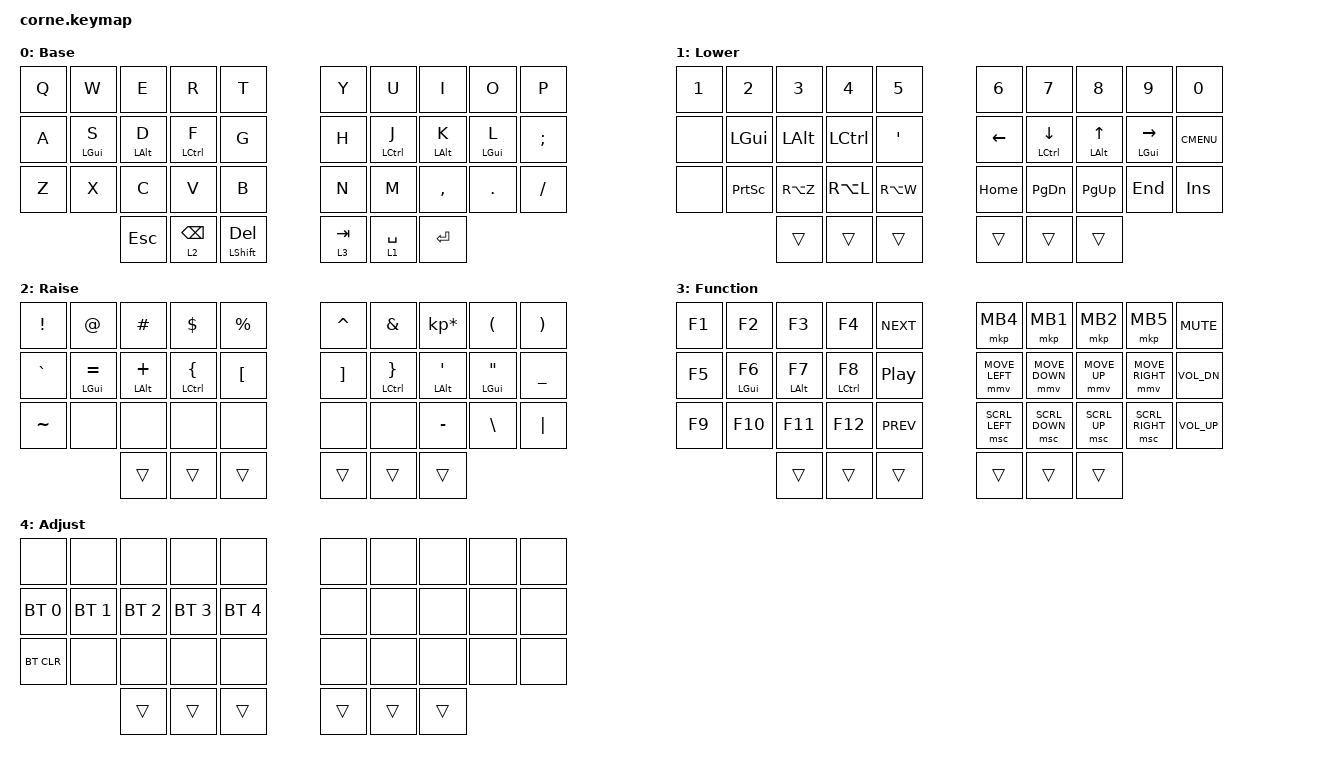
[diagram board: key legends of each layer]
/*
 * Copyright (c) 2020 The ZMK Contributors
 *
 * SPDX-License-Identifier: MIT
 */

#include <behaviors.dtsi>
#include <dt-bindings/zmk/keys.h>
#include <dt-bindings/zmk/bt.h>

#define ZMK_POINTING_DEFAULT_MOVE_VAL 1500  // default: 600
#define ZMK_POINTING_DEFAULT_SCRL_VAL 20    // default: 10
#include <dt-bindings/zmk/pointing.h>

&mt {
    tapping-term-ms = <200>;
    quick-tap-ms = <200>;
    flavor = "tap-preferred";
};
&lt {
    tapping-term-ms = <200>;
    quick-tap-ms = <200>;
};

/ {
    chosen {
      zmk,matrix_transform = &five_column_transform;
    };

    conditional_layers {
        compatible = "zmk,conditional-layers";
        tri_layer {
            if-layers = <1 2>;
            then-layer = <4>;
        };
    };

    keymap {
        compatible = "zmk,keymap";

        default_layer {
// -----------------------------------------------------------------------------------------
// |  Q  |  W  |  E  |  R   |  T  |     |  Y  |  U   |  I    |  O  |  P  |
// |  A  |  S  |  D  |  F   |  G  |     |  H  |  J   |  K    |  L  | ; : |
// |  Z  |  X  |  C  |  V   |  B  |     |  N  |  M   | , <   | . > | ? / |
//             | ESC | BSPC | DEL |     | TAB | SPC  | ENTER |
// -----------------------------------------------------------------------------------------
            display-name = "Base";
            bindings = <
   &kp Q &kp W      &kp E      &kp R       &kp T          &kp Y     &kp U      &kp I       &kp O      &kp P
   &kp A &mt LGUI S &mt LALT D &mt LCTRL F &kp G          &kp H     &mt LCTRL J &mt LALT K &mt LGUI L &kp SEMI
   &kp Z &kp X      &kp C      &kp V       &kp B          &kp N     &kp M       &kp COMMA  &kp DOT    &kp SLASH
                    &kp ESC    &lt 2 BSPC  &mt LSHIFT DEL &lt 3 TAB &lt 1 SPACE &kp ENTER
            >;
       };

       lower_layer {
// -----------------------------------------------------------------------------------------
// | 1 | 2     | 3 | 4 | 5 |     | 6    | 7    | 8    | 9   | 0    |
// |   |       |   |   |   |     | LFT  | DWN  | UP   | RGT | Menu |
// |   | PrtSc | Æ | Ø | Å |     | HOME | PgDn | PgUp | End | Ins  |
//             | _ | _ | _ |     | ____ | ____ | ____ |
// -----------------------------------------------------------------------------------------
            display-name = "Lower";
            bindings = <
   &kp N1 &kp N2    &kp N3    &kp N4    &kp N5       &kp N6   &kp N7         &kp N8      &kp N9         &kp N0
   &none  &kp LGUI  &kp LALT  &kp LCTRL &kp SQT      &kp LEFT &mt LCTRL DOWN &mt LALT UP &mt LGUI RIGHT &kp K_CMENU
   &none  &kp PSCRN &kp RA(Z) &kp RA(L) &kp RA(W)    &kp HOME &kp PG_DN      &kp PG_UP   &kp END        &kp INS
                    &trans    &trans    &trans       &trans   &trans         &trans
            >;
       };

       raise_layer {
// -----------------------------------------------------------------------------------------
// | ! | @ | # | $ | % |     | ^ | & | * | ( | ) |
// | ` | = | + | { | [ |     | ] | } | ' | " | _ |
// | ~ |   |   |   |   |     |   |   | - | \ | | |
//         | _ | _ | _ |     | _ | _ | _ |
// -----------------------------------------------------------------------------------------
            display-name = "Raise";
            bindings = <
   &kp EXCL  &kp AT         &kp HASH      &kp DLLR       &kp PRCNT     &kp CARET &kp AMPS       &kp KP_MULTIPLY &kp LPAR     &kp RPAR
   &kp GRAVE &mt LGUI EQUAL &mt LALT PLUS &mt LCTRL LBRC &kp LBKT      &kp RBKT  &mt LCTRL RBRC &mt LALT SQT    &mt LGUI DQT &kp UNDER
   &kp TILDE &none          &none         &none          &none         &none     &none          &kp MINUS       &kp BSLH     &kp PIPE
                            &trans        &trans         &trans        &trans    &trans         &trans
            >;
       };

       func_layer {
// -----------------------------------------------------------------------------------------
// | F1 | F2  | F3  | F4  | media_next |     | MsB4 | MsB1 | MsB2 | MsB5 | Mute |
// | F5 | F6  | F7  | F8  | play/pause |     | MsL  | MsD  | MsU  | MsR  | VolD |
// | F9 | F10 | F11 | F12 | media_prev |     | ScrL | ScrD | ScrU | ScrR | VolU |
//            | ___ | ___ | __________ |     | ____ | ____ | ____ |
// -----------------------------------------------------------------------------------------
            display-name = "Function";
            bindings = <
   &kp F1 &kp F2      &kp F3      &kp F4       &kp C_NEXT   &mkp MB4       &mkp MB1       &mkp MB2     &mkp MB5        &kp C_MUTE
   &kp F5 &mt LGUI F6 &mt LALT F7 &mt LCTRL F8 &kp C_PP     &mmv MOVE_LEFT &mmv MOVE_DOWN &mmv MOVE_UP &mmv MOVE_RIGHT &kp C_VOL_DN
   &kp F9 &kp F10     &kp F11     &kp F12      &kp C_PREV   &msc SCRL_LEFT &msc SCRL_DOWN &msc SCRL_UP &msc SCRL_RIGHT &kp C_VOL_UP
                      &trans      &trans       &trans       &trans         &trans         &trans
            >;
       };

       adjust_layer {
// -----------------------------------------------------------------------------------------
// |       |     |     |     |     |     |   |   |   |   |   |
// | BT1   | BT2 | BT3 | BT4 | BT5 |     |   |   |   |   |   |
// | BTCLR | F10 | F11 | F12 |     |     |   |   |   |   |   |
//               | ___ | ___ | ___ |     | _ | _ | _ |
// -----------------------------------------------------------------------------------------
            display-name = "Adjust";
            bindings = <
   &none        &none        &none        &none        &none            &none  &none  &none &none &none
   &bt BT_SEL 0 &bt BT_SEL 1 &bt BT_SEL 2 &bt BT_SEL 3 &bt BT_SEL 4     &none  &none  &none &none &none
   &bt BT_CLR   &none        &none        &none        &none            &none  &none  &none &none &none
                             &trans       &trans       &trans           &trans &trans &trans
            >;
       };
    };
};

